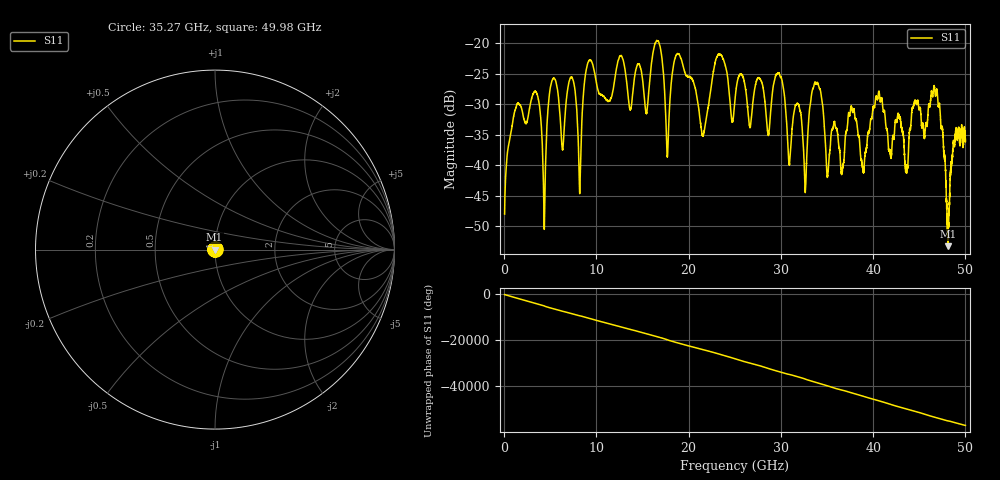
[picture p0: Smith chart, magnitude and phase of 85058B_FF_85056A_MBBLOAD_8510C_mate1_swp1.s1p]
!Created with skrf (http://scikit-rf.org).
# Hz S RI R 50.0
!freq ReS11 ImS11
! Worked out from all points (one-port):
!   10001 points, 45 MHz to 50 GHz, reference 50 ohm
!   lowest |S11| = -53.2 dB at 48.13 GHz (marker M1), VSWR 1.00, Z = 49.8 + j0.043 ohm
!   |S11| at or under -10 dB: start of sweep to end of sweep
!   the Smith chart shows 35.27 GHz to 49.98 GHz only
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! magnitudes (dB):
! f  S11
! 45 MHz  -48.0
! 1.444 GHz  -29.9
! 3.537 GHz  -28.2
! 4.326 GHz  -49.5
! 5.23 GHz  -26.0
! 6.289 GHz  -37.3
! 7.199 GHz  -25.6
! 8.183 GHz  -44.4
! 9.112 GHz  -23.1
! 12.53 GHz  -22.1
! 15.42 GHz  -31.5
! 16.7 GHz  -19.7
! 17.7 GHz  -38.5
! 18.78 GHz  -21.7
! 21.53 GHz  -35.1
! 23.21 GHz  -21.8
! 25.02 GHz  -29.2
! 28.64 GHz  -35.1
! 29.7 GHz  -24.9
! 31.27 GHz  -33.1
! 32.66 GHz  -44.2
! 33.88 GHz  -26.5
! 36.65 GHz  -41.0
! 37.51 GHz  -31.4
! 43.76 GHz  -40.0
! 46.75 GHz  -28.6
! 48.13 GHz  -53.2
! 50 GHz  -35.7
